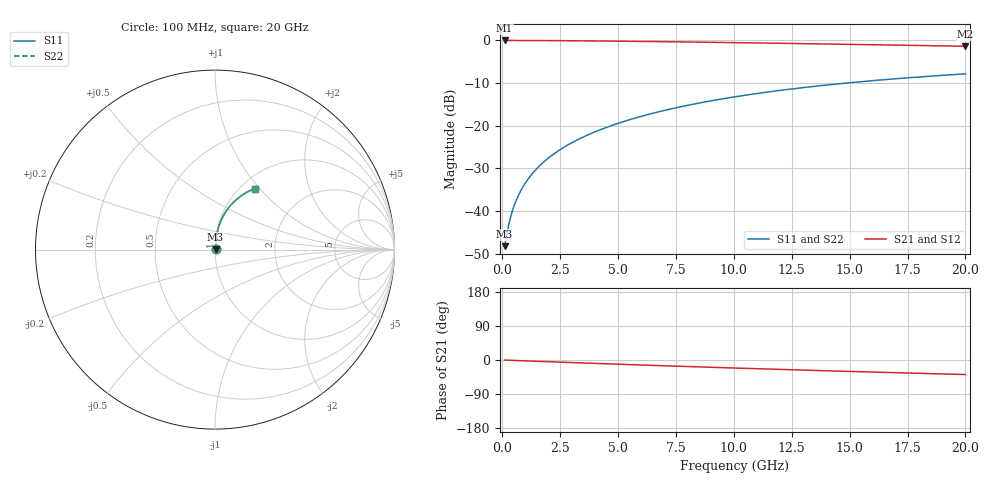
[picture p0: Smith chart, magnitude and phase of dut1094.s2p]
! Touchstone file exported from HFSS 2024.1.0
!  File:  C:/UserFiles/LocalFiles/RDL_TSV_Batchsim/temp_RDL_top_1094_1780046071.aedt
!  Generated:  05:16:59 PM May 29, 2026
!  Design:  RDL_top
!  Project:  temp_RDL_top_1094_1780046071
!  Setup:  Setup1
!  Solution:  Sweep
! Variables:
!  dtsv = 10.80580581um
!  hbump = 3um
!  htsv = 74.23um
!  ldown = 100um
!  lrdl = 478.17um
!  p = 40
!  p1 = 58.98um
!  rhole = 1um
!  t = 450um
!  tdown = 3.915915916um
!  trdl = 2.83um
!  wdown = 15.38538539um
!  wrdl = 20.22um
# GHz S MA R 50.000000
! Terminal data exported
! Port[1] = Box2_T1
! Port[2] = Box2_T2
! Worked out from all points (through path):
!   200 points, 100 MHz to 20 GHz, reference 50 ohm
!   highest |S21| = -0.03 dB at 100 MHz (marker M1); lowest = -1.4 dB at 20 GHz (marker M2)
!   group delay of S21, straight-line fit = 5.31 ps
!   lowest |S11| = -48.2 dB at 100 MHz (marker M3), VSWR 1.01, Z = 50.3 + j0.224 ohm
!   |S11| at or under -10 dB: start of sweep to 14.87 GHz
!   |S22| runs from -48.2 to -7.9 dB; largest |S21 - S12| = 2.7e-15
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0.1  0.003882 34.9  0.9968 -0.2  0.9968 -0.2  0.003882 34.9
! Gamma 0 0 0 0
! Port Impedance 50 0 50 0
0.2  0.005497 53.5  0.9967 -0.5  0.9967 -0.5  0.005497 53.5
0.3  0.007391 62.7  0.9966 -0.7  0.9966 -0.7  0.007391 62.7
0.4  0.009363 67.9  0.9964 -0.9  0.9964 -0.9  0.009363 67.9
0.5  0.01136 71.2  0.9962 -1.2  0.9962 -1.2  0.01136 71.2
0.6  0.01336 73.6  0.9961 -1.4  0.9961 -1.4  0.01336 73.6
0.8  0.01737 76.8  0.9957 -1.9  0.9957 -1.9  0.01737 76.8
1.1  0.02345 79.5  0.9952 -2.5  0.9952 -2.5  0.02345 79.5
1.3  0.02753 80.6  0.9947 -3.0  0.9947 -3.0  0.02753 80.6
1.6  0.0337 81.8  0.994 -3.7  0.994 -3.7  0.0337 81.8
2.1  0.0441 82.8  0.9926 -4.8  0.9926 -4.8  0.0441 82.8
2.7  0.05674 83.3  0.9904 -6.1  0.9904 -6.1  0.05674 83.3
3.5  0.07384 83.2  0.9868 -7.9  0.9868 -7.9  0.07384 83.2
4.2  0.08903 82.8  0.9831 -9.4  0.9831 -9.4  0.08903 82.8
5  0.1066 82.1  0.9783 -11.1  0.9783 -11.1  0.1066 82.1
5.9  0.1265 81.0  0.9724 -13.0  0.9724 -13.0  0.1266 81.0
6.8  0.1466 79.7  0.966 -14.9  0.966 -14.9  0.1466 79.7
8.4  0.1821 77.1  0.9538 -18.0  0.9538 -18.0  0.1821 77.1
10.1  0.2192 74.2  0.9399 -21.3  0.9399 -21.3  0.2193 74.2
13.4  0.2877 68.3  0.9114 -27.4  0.9114 -27.4  0.2877 68.3
16.7  0.3498 62.5  0.8818 -33.1  0.8818 -33.1  0.3499 62.5
20  0.405 57.0  0.8519 -38.4  0.8519 -38.4  0.405 57.0
